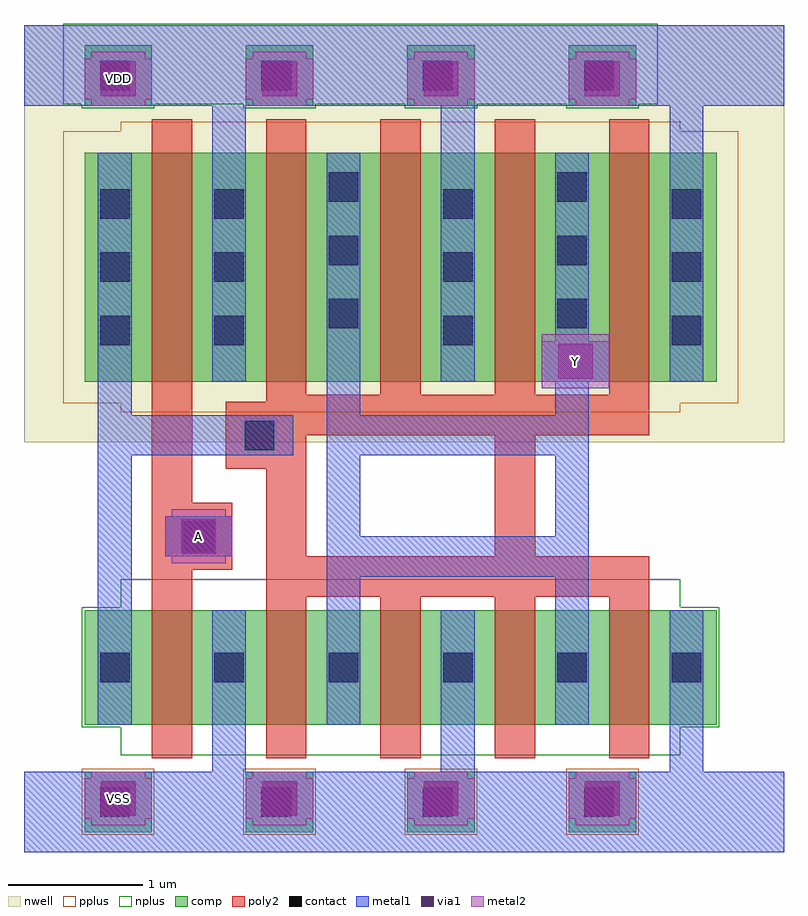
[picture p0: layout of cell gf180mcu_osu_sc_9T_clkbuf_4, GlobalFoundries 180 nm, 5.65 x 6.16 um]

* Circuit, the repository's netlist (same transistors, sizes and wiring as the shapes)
* Copyright 2022 Google LLC
*
* Licensed under the Apache License, Version 2.0 (the "License");
* you may not use this file except in compliance with the License.
* You may obtain a copy of the License at
*
*      http://www.apache.org/licenses/LICENSE-2.0
*
* Unless required by applicable law or agreed to in writing, software
* distributed under the License is distributed on an "AS IS" BASIS,
* WITHOUT WARRANTIES OR CONDITIONS OF ANY KIND, either express or implied.
* See the License for the specific language governing permissions and
* limitations under the License.

.option scale=0.05u

.subckt gf180mcu_osu_sc_9T_clkbuf_4 A Y
X0 Y a_9_19 VDD VDD pmos_3p3 w=34 l=6
X1 VSS a_9_19 Y VSS nmos_3p3 w=17 l=6
X2 VSS A a_9_19 VSS nmos_3p3 w=17 l=6
X3 VDD a_9_19 Y VDD pmos_3p3 w=34 l=6
X4 VDD A a_9_19 VDD pmos_3p3 w=34 l=6
X5 VSS a_9_19 Y VSS nmos_3p3 w=17 l=6
X6 Y a_9_19 VSS VSS nmos_3p3 w=17 l=6
X7 VDD a_9_19 Y VDD pmos_3p3 w=34 l=6
X8 Y a_9_19 VSS VSS nmos_3p3 w=17 l=6
X9 Y a_9_19 VDD VDD pmos_3p3 w=34 l=6
.ends

** hspice subcircuit dictionary

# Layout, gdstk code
import gdstk
lib = gdstk.Library(unit=1e-6, precision=1e-09)
def R(c, l, rs):  # rectangles x0, y0, x1, y1
    for r in rs: c.add(gdstk.rectangle(r[:2], r[2:], *l))
def A(c, l, x, y, w, h, nx, ny, dx, dy):  # array of equal rectangles
    R(c, l, [(x+i*dx, y+j*dy, x+i*dx+w, y+j*dy+h) for i in range(nx) for j in range(ny)])
nwell = (21, 0)
comp = (22, 0)
poly2 = (30, 0)
pplus = (31, 0)
nplus = (32, 0)
contact = (33, 0)
metal1 = (34, 0)
via1 = (35, 0)
metal2 = (36, 0)

gf180mcu_osu_sc_9t_clkbu = lib.new_cell('gf180mcu_osu_sc_9T_clkbuf_4')
R(gf180mcu_osu_sc_9t_clkbu, nwell, [(0,3.05,5.65,6.15)])
A(gf180mcu_osu_sc_9t_clkbu, comp, 0.45, 0.15, 0.5, 0.45, 4, 2, 1.2, 5.4)
R(gf180mcu_osu_sc_9t_clkbu, comp, [(0.45,0.95,5.15,1.8), (0.45,3.5,5.15,5.2)])
A(gf180mcu_osu_sc_9t_clkbu, poly2, 1.8, 0.7, 0.3, 1.2, 4, 1, 0.85, 0)
A(gf180mcu_osu_sc_9t_clkbu, poly2, 1.8, 3.4, 0.3, 2.05, 4, 1, 0.85, 0)
R(gf180mcu_osu_sc_9t_clkbu, poly2, [(0.95,0.7,1.25,2.1), (1.8,1.9,4.65,2.2), (0.95,2.1,1.55,2.6), (1.8,2.2,2.1,2.85), (3.5,2.2,3.8,3.1), (0.95,2.6,1.25,5.45), (1.5,2.85,2.1,3.1), (1.5,3.1,4.65,3.35), (1.8,3.35,4.65,3.4)])
A(gf180mcu_osu_sc_9t_clkbu, pplus, 0.43, 0.13, 0.54, 0.49, 4, 1, 1.2, 0)
R(gf180mcu_osu_sc_9t_clkbu, pplus, [(0.72,3.27,4.88,3.34), (0.29,3.34,5.31,5.36), (0.72,5.36,4.88,5.43)])
A(gf180mcu_osu_sc_9t_clkbu, nplus, 0.43, 5.53, 0.54, 0.03, 4, 1, 1.2, 0)
R(gf180mcu_osu_sc_9t_clkbu, nplus, [(0.72,0.72,4.88,0.93), (0.43,0.93,5.17,1.82), (0.72,1.82,4.88,2.03), (0.29,5.56,4.71,6.16)])
A(gf180mcu_osu_sc_9t_clkbu, contact, 0.565, 0.265, 0.22, 0.22, 4, 2, 1.2, 5.4)
A(gf180mcu_osu_sc_9t_clkbu, contact, 0.565, 1.265, 0.22, 0.22, 6, 1, 0.85, 0)
A(gf180mcu_osu_sc_9t_clkbu, contact, 0.565, 3.77, 0.22, 0.22, 1, 3, 0, 0.47)
A(gf180mcu_osu_sc_9t_clkbu, contact, 1.415, 3.77, 0.22, 0.22, 3, 3, 1.7, 0.47)
A(gf180mcu_osu_sc_9t_clkbu, contact, 2.265, 3.895, 0.22, 0.22, 1, 3, 0, 0.47)
A(gf180mcu_osu_sc_9t_clkbu, contact, 3.965, 3.895, 0.22, 0.22, 1, 3, 0, 0.47)
R(gf180mcu_osu_sc_9t_clkbu, contact, [(1.19,2.24,1.41,2.46), (1.64,2.99,1.86,3.21)])
A(gf180mcu_osu_sc_9t_clkbu, metal1, 1.4, 0.6, 0.25, 1.2, 3, 1, 1.7, 0)
A(gf180mcu_osu_sc_9t_clkbu, metal1, 1.4, 3.5, 0.25, 2.05, 3, 1, 1.7, 0)
R(gf180mcu_osu_sc_9t_clkbu, metal1, [(0,0,5.65,0.6), (0.55,0.95,0.8,2.95), (2.25,0.95,2.5,2.05), (3.95,0.95,4.2,2.05), (2.25,2.05,4.2,2.35), (1.05,2.2,1.55,2.5), (2.25,2.35,2.5,2.95), (3.95,2.35,4.2,2.95), (0.55,2.95,2,3.25), (2.25,2.95,4.2,3.25), (0.55,3.25,0.8,5.2), (2.25,3.25,2.5,5.2), (3.95,3.25,4.2,3.5), (3.85,3.5,4.35,3.8), (3.95,3.8,4.2,5.2), (0,5.55,5.65,6.15)])
A(gf180mcu_osu_sc_9t_clkbu, via1, 0.57, 0.27, 0.26, 0.26, 4, 2, 1.2, 5.35)
R(gf180mcu_osu_sc_9t_clkbu, via1, [(1.17,2.22,1.43,2.48), (3.97,3.52,4.23,3.78)])
A(gf180mcu_osu_sc_9t_clkbu, metal2, 0.5, 0.2, 0.4, 0.05, 4, 2, 1.2, 0.35)
A(gf180mcu_osu_sc_9t_clkbu, metal2, 0.45, 0.25, 0.5, 0.3, 4, 2, 1.2, 5.35)
A(gf180mcu_osu_sc_9t_clkbu, metal2, 0.5, 5.55, 0.4, 0.05, 4, 2, 1.2, 0.35)
R(gf180mcu_osu_sc_9t_clkbu, metal2, [(1.1,2.15,1.5,2.2), (1.05,2.2,1.55,2.5), (1.1,2.5,1.5,2.55), (3.85,3.45,4.35,3.85)])
gf180mcu_osu_sc_9t_clkbu.add(gdstk.Label('VDD', (0.7,5.75), layer=36, texttype=0))
gf180mcu_osu_sc_9t_clkbu.add(gdstk.Label('VSS', (0.7,0.4), layer=36, texttype=0))
gf180mcu_osu_sc_9t_clkbu.add(gdstk.Label('A', (1.3,2.35), layer=36, texttype=10))
gf180mcu_osu_sc_9t_clkbu.add(gdstk.Label('Y', (4.1,3.65), layer=36, texttype=10))

lib.write_gds('gf180mcu_osu_sc_9T_clkbuf_4.gds')
